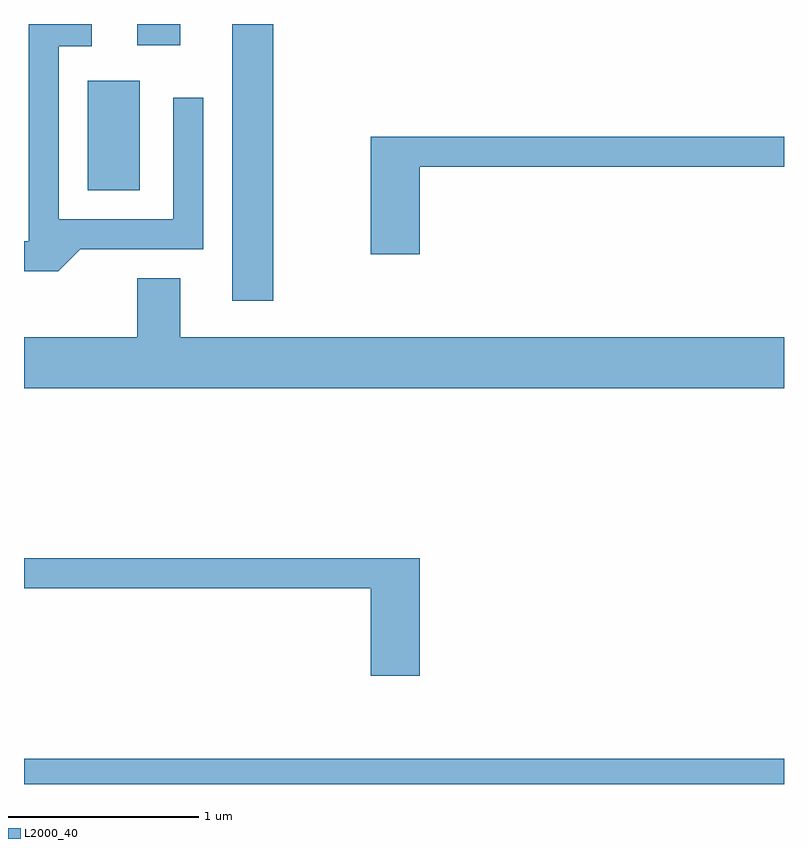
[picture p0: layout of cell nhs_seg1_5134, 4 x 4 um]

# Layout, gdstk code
import gdstk
lib = gdstk.Library(unit=1e-6, precision=1e-09)
def R(c, l, rs):  # rectangles x0, y0, x1, y1
    for r in rs: c.add(gdstk.rectangle(r[:2], r[2:], *l))
def P(c, l, *ps):  # polygons
    for p in ps: c.add(gdstk.Polygon(p, *l))
L2000_40 = (2000, 40)

nhs_seg1_5134 = lib.new_cell('nhs_seg1_5134')
R(nhs_seg1_5134, L2000_40, [(339.611,899.712,343.611,899.844), (340.706,902.256,340.924,903.712), (339.946,902.836,340.219,903.414), (340.206,903.601,340.434,903.712)])
P(nhs_seg1_5134, L2000_40, [(339.907,902.526),(340.554,902.526),(340.554,903.323),(340.396,903.323),(340.396,902.684),(339.794,902.684),(339.794,903.596),(339.968,903.596),(339.968,903.712),(339.636,903.712),(339.636,902.569),(339.611,902.569),(339.611,902.411),(339.792,902.411)],
  [(341.694,902.961),(343.611,902.961),(343.611,903.119),(341.436,903.119),(341.436,902.501),(341.694,902.501)],
  [(343.611,902.064),(340.434,902.064),(340.434,902.374),(340.206,902.374),(340.206,902.064),(339.611,902.064),(339.611,901.796),(343.611,901.796)],
  [(341.694,900.899),(339.611,900.899),(339.611,900.741),(341.436,900.741),(341.436,900.281),(341.694,900.281)])

lib.write_gds('nhs_seg1_5134.gds')
